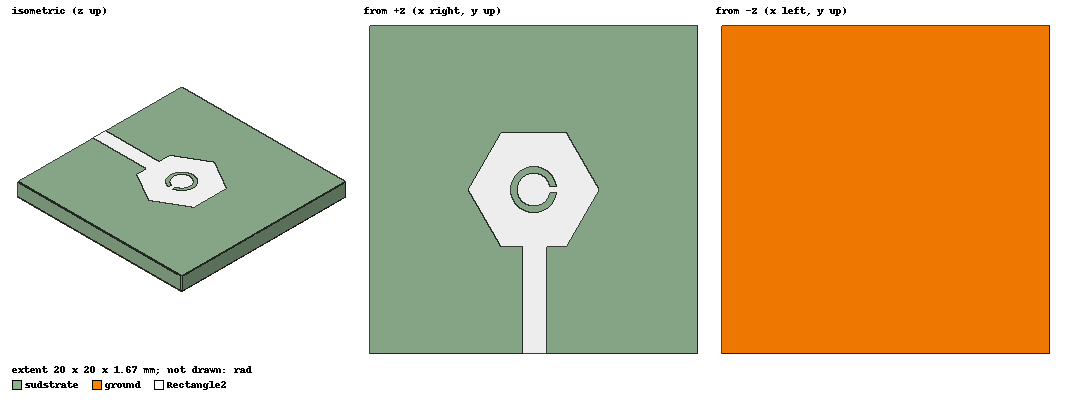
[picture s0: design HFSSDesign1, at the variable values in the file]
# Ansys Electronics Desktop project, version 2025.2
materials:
  vacuum: permittivity=1
  FR4_epoxy: permittivity=4.4 dielectric_loss_tangent=0.02
  copper: permeability=0.999991 conductivity=58000000
  air: permittivity=1.0006 permeability=1.0000004
  Rogers RO3003 (tm): permittivity=3 dielectric_loss_tangent=0.0013

design HFSSDesign1 (HFSS, HFSS Terminal Network, model units mm)
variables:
  a = 4mm
  b = 4.5mm
  c = 5mm
  d = 5.5mm
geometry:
  sudstrate [FR4_epoxy] = box(corner=(-10mm, -10mm, 0mm), size=(20mm, 20mm, 1.6mm))
  ground [copper] = rectangle(corner=(-10mm, 10mm, 0mm), x_size=20mm, y_size=-20mm)
  Polygon1 = regular_polygon(axis=Z, centre=(0mm, 0mm, 1.6mm), first_corner=(4mm, 0mm, 1.6mm), sides=6)
  Circle1 = circle(normal=Z, centre=(0mm, 0mm, 1.6mm), radius=1.4mm)
  Circle2 = circle(normal=Z, centre=(0mm, 0mm, 1.6mm), radius=1mm)
  Rectangle1 = rectangle(corner=(0.99mm, -0.2mm, 1.6mm), x_size=0.43mm, y_size=0.4mm)
  Circle1.subtract(Circle2, Rectangle1)
  Rectangle2 [copper] = rectangle(corner=(-1.7mm, -10mm, 1.6mm), x_size=1.5mm, y_size=7mm)
  Rectangle2.move(1mm, 0mm, 0mm)
  Rectangle3 = rectangle(corner=(-0.7mm, -10mm, 1.6mm), z_size=-1.6mm, x_size=1.6mm)
  [Polygon1, ground, Rectangle2, Circle1].thicken(0.035mm)
  Rectangle2.unite(Polygon1)
  rad [air] = box(corner=(-20mm, -20mm, -5mm), size=(40mm, 40mm, 30mm))
  Rectangle2.subtract(Circle1)
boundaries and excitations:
  Rad1: Radiation Objects=rad
  PerfE1: Perfect E Objects=Rectangle2
  1: Lumped Port Objects=Rectangle3 LumpedPortType=Modal Modes{Mode1{IntLine{(0.1, -10, 0) -> (0.1, -10, 1.6)} CharImp=Zpi}} Impedance=50ohm
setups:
  Setup1: HfssDriven Frequency=12GHz MaxDeltaS=0.02 MaximumPasses=6 MinimumPasses=1 MinimumConvergedPasses=1 PercentRefinement=30 BasisOrder=1 PortAccuracy=2 DrivenSolverType="Direct Solver"
    sweep Sweep: 10GHz to 13GHz, 401 points; Type=Interpolating InterpTolerance=0.5 InterpMaxSolns=250 PassivityErrorTolerance=0.0001
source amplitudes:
  1:1: 1V 0deg
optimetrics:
  ParametricSetup1: Parametric Sim._Setups=[Setup1]
    sweep a: LIN 3mm 5mm 0.2mm
  ParametricSetup2: Parametric Sim._Setups=[Setup1]
    sweep a: LIN 2mm 6mm 0.2mm
    sweep b: LIN 2.25mm 6.75mm 0.2mm
    sweep c: LIN 2.5mm 7.5mm 0.2mm
    sweep d: LIN 2.75mm 8.25mm 0.2mm
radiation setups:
  Infinite Sphere1: Infinite Sphere Theta=0deg..180deg step 2deg Phi=-180deg..180deg step 2deg
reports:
  Terminal S Parameter Plot1: dB(St(1,1)) vs Freq on Setup1 : Sweep; markers m1 at 12.52GHz
  Gain Plot1: GainTotal vs Phi, Theta on Setup1 : LastAdaptive, Infinite Sphere1 [Freq=12GHz]
  Terminal VSWR Plot1: VSWRt(1) vs Freq on Setup1 : Sweep
  Terminal S Parameter Plot2: dB(St(1,1)) vs Freq on Setup1 : Sweep [a=all]
  Terminal S Parameter Plot3: dB(St(1,1)) vs Freq on Setup1 : Sweep
  Terminal S Parameter Plot4: dB(St(1,1)) vs Freq on Setup1 : Sweep
